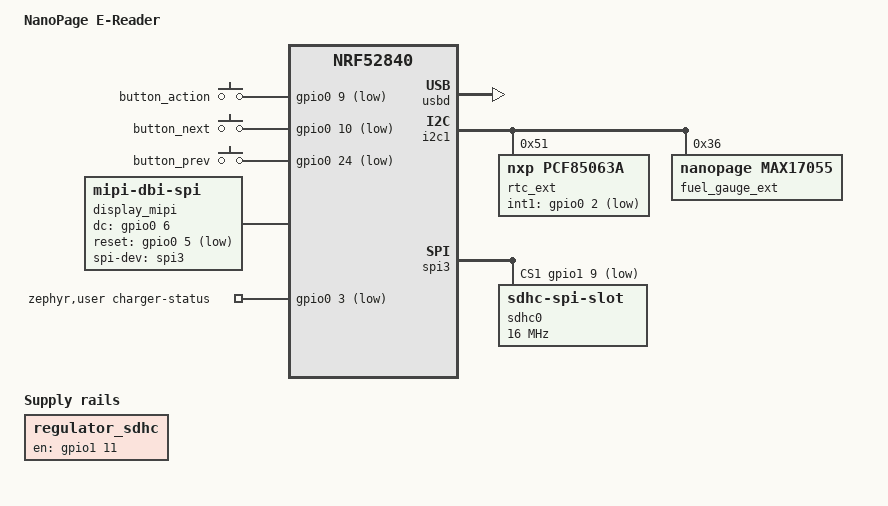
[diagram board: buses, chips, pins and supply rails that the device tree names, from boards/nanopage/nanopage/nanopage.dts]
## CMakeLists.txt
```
# SPDX-License-Identifier: Apache-2.0
cmake_minimum_required(VERSION 3.20.0)

list(APPEND BOARD_ROOT ${CMAKE_CURRENT_SOURCE_DIR})
list(APPEND DTS_ROOT ${CMAKE_CURRENT_SOURCE_DIR})

find_package(Zephyr REQUIRED HINTS $ENV{ZEPHYR_BASE})
project(nanopage)

target_sources(app PRIVATE
	src/main.c
	src/drivers/rtc.c
	src/drivers/buttons.c
	src/drivers/i2c1_bus.c
	src/display/display.c
	src/display/ssd1680.c
	src/display/logo_nanopage.c
	src/ui/text.c
	src/ui/list_widget.c
	src/ui/fonts/font_tamzen.c
	src/ui/fonts/font_icons.c
	src/ui/fonts/font_battery.c
	src/ui/statusbar/header.c
	src/ui/statusbar/footer.c
	src/ui/screens/menu.c
	src/ui/screens/browser.c
	src/ui/screens/settings.c
	src/ui/screens/calendar_day.c
	src/ui/screens/sleep_screen.c
	src/ui/screens/reader.c
	src/ui/screens/reader_menu.c
	src/ui/screens/toc.c
	src/ui/screens/bookmarks.c
	src/power/max17055.c
	src/power/fuel_gauge.c
	src/power/charger.c
	src/power/power.c
	src/storage/sd.c
	src/storage/calendar_store.c
	src/book/npb.c
	src/usb/usb_msc.c
	src/ble/companion.c
	src/ble/companion_library.c
	src/ble/companion_calendar.c
	src/ui/screens/companion_screen.c
)

target_include_directories(app PRIVATE
	src
	src/display
	src/ui
	src/ui/fonts
	src/ui/screens
	src/ui/statusbar
	src/power
	src/drivers
	src/storage
	src/book
	src/usb
	src/ble
)
```

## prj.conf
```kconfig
# First bring-up: verify the board boots and the RTT console works.

# Buttons (gpio-keys, INPUT_GPIO_KEYS) and RTC (PCF85063, RTC_PCF85063A)
CONFIG_INPUT=y
CONFIG_RTC=y
CONFIG_RTC_ALARM=y

# E-paper panel (SSD1680 over MIPI DBI Mode C / SPI), local driver
# src/display/ssd1680.c
CONFIG_DISPLAY=y
# Upstream's CONFIG_SSD16XX (which selects this) is off for our local compat.
CONFIG_MIPI_DBI=y

# Text-grid UI layer (text.c). Pulls in only the CFB subsystem's built-in
# font tables (subsys/fb/cfb_fonts.c) - text.c reads those directly and
# does not use the rest of the CFB API (see the comment at the top of
# text.c for why).
CONFIG_CHARACTER_FRAMEBUFFER=y
CONFIG_CHARACTER_FRAMEBUFFER_USE_DEFAULT_FONTS=y

# k_malloc() pool: display.c's full-frame scratch buffer (296x128/8 = 4736
# bytes) + text.c's persistent framebuffer (another 4736 bytes) + small
# per-row scratch buffers text.c allocates during app_text_flush().
CONFIG_HEAP_MEM_POOL_SIZE=16384

# Logging subsystem, so driver-level LOG_ERR (SSD1680/MIPI_DBI probe
# failures) actually shows up - without this LOG_* calls are compiled
# out and only our own printk lines are visible. Shares RTT buffer 0
# with the printk console (LOG_BACKEND_RTT_FORCE_PRINTK handles the
# two not corrupting each other).
CONFIG_LOG=y

# Fuel gauge (MAX17055, fuel_gauge.c/max17055.c). NVS on the "storage"
# flash partition persists learned impedance-track parameters across a
# battery disconnect (STATUS.POR).
CONFIG_FLASH=y
CONFIG_FLASH_MAP=y
CONFIG_FLASH_PAGE_LAYOUT=y
CONFIG_NVS=y

# Power states (power.c). System OFF after 30 min idle, GPIO-wake on any
# button - the lowest power state the nRF52840 has.
CONFIG_POWEROFF=y

# Without this, Zephyr's regulator-fixed driver never runs, so
# regulator_sdhc's "regulator-boot-off" in nanopage.dts is a no-op: the
# TPS22929D's ON pin (P1.11) is left as a floating GPIO input instead of
# being actively driven low. The TPS22929D datasheet says explicitly not
# to leave that pin floating, so this is worth doing regardless - but it
# is NOT the source of the ~1-2.5mA idle drain under investigation:
# "removing the microSD card" was one of the variables ruled out during
# that testing (see .claude/CLAUDE.md's "Open investigation, unresolved"
# note), and this Kconfig was already enabled at the time. This makes
# regulator-boot-off actually take effect.
#
# Confirmed by isolation testing (2026-09-11): with a microSD card
# physically inserted, enabling this broke display refreshes (BUSY
# cleared in ~20ms instead of the normal ~1.7s, no visible update) -
# almost certainly the card partially powering up on the same shared
# SPI3 bus (separate CS lines, but same MOSI/MISO/SCK) as the display.
# Works correctly with the card removed. Nothing in this firmware uses
# the SD card yet (no filesystem driver wired up), so this isn't a
# regression for anything actually working today - but it means SD
# card init (when that's eventually built) needs to sequence around
# this, not just flip the switch and go.
CONFIG_REGULATOR=y

# CONFIG_PM_DEVICE gates pm_device_action_run() existing at all (needed by
# display.c's manual spi3 resume/suspend around app_display_lock()/
# unlock() - see the comment there). CONFIG_PM_DEVICE_RUNTIME/
# CONFIG_PM_DEVICE_RUNTIME_DEFAULT_ENABLE were tried first (automatic
# get/put refcounting instead of an explicit call) but never actually
# worked: SPIM3->ENABLE read back 0 as expected, yet idle current stayed
# at the same elevated level as if it were still clocked - a genuine,
# never-root-caused inconsistency in Zephyr's runtime PM layer for this
# driver (see .claude/CLAUDE.md's "PPK2" investigation). Testing an
# explicit pm_device_action_run() instead, 2026-09-17.
CONFIG_PM_DEVICE=y

# microSD card (sd.c) - FAT filesystem over the zephyr,sdhc-spi-slot ->
# SD subsystem -> zephyr,sdmmc-disk chain wired up on spi3 in
# nanopage.dts. DISK_ACCESS/SDHC/SD_STACK/SPI_SDHC/DISK_DRIVER_SDMMC all
# default to y once those devicetree nodes exist, so only the
# filesystem layer needs to be requested explicitly here.
CONFIG_FILE_SYSTEM=y
CONFIG_FAT_FILESYSTEM_ELM=y
# Real folder/file names on a card written by anything other than this
# firmware are almost always >8.3 - without this they'd come back
# truncated (e.g. "MYBOOK~1"). Heap mode since prj.conf already sizes a
# heap for display.c/text.c's frame buffers; the LFN working buffer
# (256 * 2 = 512 bytes) is only allocated transiently during a
# fs_readdir() call, not held permanently.
CONFIG_FS_FATFS_LFN=y
CONFIG_FS_FATFS_LFN_MODE_HEAP=y
# FS_FATFS_MOUNT_MKFS defaults off unless FILE_SYSTEM_MKFS is set, which
# it isn't here - deliberately: a blank/unrecognized card should fail
# fs_mount() loudly, not get silently reformatted and lose whatever was
# on it.

# main()/init ran on the default 1024-byte CONFIG_MAIN_STACK_SIZE fine
# until app_sd_init() was added - fs_mount()'s FAT/SDHC-SPI path (ff.c's
# f_mount plus sdhc_spi.c's own local command buffers) blew straight
# through it into an MPU stacking fault the moment it was called.
# Zephyr's own samples/subsys/fs/fs_sample hits the same thing and sets
# this same value for the same reason.
#
# Bumped again, 2048 -> 4096, when main() started calling
# app_reader_resume_last_session() (reader.c) directly after a System-OFF
# wake, to reopen a book main.c was booting straight back into - the full
# app_reader_open() chain (fs_mount() plus npb.c's header/variant-table
# parse, render_page()'s text layout, and the SSD1680 SPI refresh) is far
# deeper than the bare fs_mount() this was originally sized for, and had
# previously only ever run on the input thread or system workqueue -
# CONFIG_INPUT_THREAD_STACK_SIZE/CONFIG_SYSTEM_WORKQUEUE_STACK_SIZE below,
# both already 4096 for that exact reason. Confirmed on hardware
# 2026-09-18: a stack overflow (MPU FAULT, Stacking error) firing right
# after "woke from System OFF via GPIO" in the RTT log, at 2048.
CONFIG_MAIN_STACK_SIZE=4096

# browser.c (src/ui/browser.c) calls fs_opendir()/fs_readdir() - the same
# FATFS call chain that forced CONFIG_MAIN_STACK_SIZE up above - but now
# from a button press. That callback (buttons.c's button_event_cb) runs
# on Zephyr's dedicated input-processing thread (CONFIG_INPUT_MODE_THREAD,
# the default - see subsys/input/Kconfig), NOT the system workqueue:
# gpio-keys debounces on its own k_work, then posts through
# input_report_key(), which this separate thread dequeues and dispatches
# to INPUT_CALLBACK_DEFINE listeners synchronously. Its default stack
# (CONFIG_INPUT_THREAD_STACK_SIZE, 1024B) is smaller than what fs_mount()
# alone needed on main() - bumped here for the same reason, with the same
# margin.
CONFIG_INPUT_THREAD_STACK_SIZE=4096

# Generic headroom bump for the same reason as CONFIG_MAIN_STACK_SIZE
# above - this thread carries the header/footer/display-refresh work
# (main.c's footer_sample_work/footer_draw_work chain, the RTC alarm and
# charger STAT callbacks) and doesn't need FS-call-chain depth itself,
# but costs nothing to give real margin against the default 1024B.
CONFIG_SYSTEM_WORKQUEUE_STACK_SIZE=4096

# USB Mass Storage (usb_msc.c) - exposes the microSD card as a USB drive
# while a host is connected. CONFIG_USB_DEVICE_STACK_NEXT is Zephyr's
# newer USBD stack (the old CONFIG_USB_DEVICE_STACK is legacy/deprecated
# upstream) - matches the in-tree samples/subsys/usb/mass sample, which
# has its own sample.usbd.mass_sdhc_fatfs config for exactly this
# SD-card-over-SPI case. CONFIG_USBD_MSC_LUNS_PER_INSTANCE defaults to 1,
# which is all this board needs (one LUN, the SD card).
CONFIG_USB_DEVICE_STACK_NEXT=y
CONFIG_USBD_MSC_CLASS=y

# Default (512B = one sector) forces every multi-sector SCSI READ(10)/
# WRITE(10) into a stream of individual single-block SD commands (CMD17/
# CMD24) instead of one batched multi-block transfer (CMD18/CMD25) -
# subsys/sd/sd_ops.c's card_read()/card_write() already pick the
# multi-block opcode whenever asked for more than one sector at once, so
# this is purely about giving usbd_msc_scsi.c's internal buffer room to
# actually ask for more than one - 16 sectors/8KB per buffer (x2 for
# CONFIG_USBD_MSC_DOUBLE_BUFFERING = 16KB total), cheap against a 256KB
# RAM budget currently at ~21% used.
CONFIG_USBD_MSC_SCSI_BUFFER_SIZE=8192

# Chasing a real UX bug, 2026-09-18: if the USB cable is pulled mid-
# transfer instead of ejected cleanly, the *next* connection took ~20s
# before working. Root cause: Zephyr's SD stack (subsys/sd/sd_ops.c)
# defaults CONFIG_SD_DATA_TIMEOUT to 10000ms and CONFIG_SD_DATA_RETRIES
# to 3 - when the cable drops mid-read/write, the usbd_msc thread is
# left blocked deep inside that read/write, holding the card's own
# internal mutex (card->lock), retrying against now-unpowered hardware
# it has no way to know is gone. There's no Zephyr API to cancel that in
# flight, so it has to run its own timeout/retry cycle to completion
# (up to 10s x 3 = 30s worst case) before releasing the lock - and the
# *next* connection's own disk_access_init() blocks on that same mutex
# in the meantime. 10s x 3 retries is generous margin for a card doing
# real internal housekeeping; this card's actual reads/writes complete
# in low tens of milliseconds even at the old conservative 4MHz clock
# (see sdhc0 in nanopage.dts), so tightening these bounds the worst case
# to ~4s instead of ~30s without meaningfully risking a legitimate
# operation on this specific card/use case.
CONFIG_SD_DATA_TIMEOUT=2000
CONFIG_SD_DATA_RETRIES=1

# USBD_MSC_CLASS's own thread does raw disk_access_read()/write() against
# the same SDHC-over-SPI call chain (sdhc_spi.c) that forced
# CONFIG_MAIN_STACK_SIZE/CONFIG_INPUT_THREAD_STACK_SIZE up above for
# fs_mount()/fs_readdir() - its 1024B default is smaller than what that
# chain needed there, bumped here for the same reason with the same
# margin rather than waiting to hit an MPU stacking fault on real
# hardware.
CONFIG_USBD_MSC_STACK_SIZE=4096

# Bluetooth LE companion link (src/ble/companion.c) - peripheral only,
# GATT server, LE Secure Connections pairing with a passkey the device
# shows on the e-paper (display-only IO capability), bonding persisted
# through the Zephyr settings subsystem to settings_partition (see
# nanopage.dts - separate from storage_partition, which fuel_gauge.c uses
# as raw NVS). The radio is only brought up while companion mode is
# active (bt_enable()/bt_disable()), never always-on.
CONFIG_BT=y
CONFIG_BT_PERIPHERAL=y
CONFIG_BT_SMP=y
CONFIG_BT_SMP_SC_PAIR_ONLY=y
CONFIG_BT_MAX_CONN=1
CONFIG_BT_MAX_PAIRED=2
CONFIG_BT_DEVICE_NAME_DYNAMIC=y
CONFIG_BT_DEVICE_NAME_MAX=20
CONFIG_BT_DEVICE_NAME="NanoPage"
CONFIG_BT_L2CAP_TX_MTU=247
CONFIG_BT_BUF_ACL_RX_SIZE=251
CONFIG_BT_BUF_ACL_TX_SIZE=251
CONFIG_BT_SETTINGS=y
CONFIG_SETTINGS=y
CONFIG_SETTINGS_NVS=y
CONFIG_HWINFO=y
# bt_enable() and the BT RX/TX work run on their own threads; the GATT
# write handlers touch the RTC and (later) the SD card, so give the
# workqueue and RX thread the same margin as the other FS-touching threads.
CONFIG_BT_RX_STACK_SIZE=2048
```

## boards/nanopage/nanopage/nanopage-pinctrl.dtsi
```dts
/*
 * SPDX-License-Identifier: Apache-2.0
 */

&pinctrl {
	/*
	 * Shared SPI bus: e-paper panel + microSD card (own CS lines each).
	 * MISO is its own group, separate from SCK/MOSI, so bias-pull-down
	 * applies to only that pin: MISO is a shared input driven by
	 * whichever slave has CS asserted, and goes undriven (high-Z) on
	 * both slaves whenever the bus is idle - which is most of the time.
	 * Without a pull, PIN_CNF reads DIR=Input/INPUT=Connected/PULL=
	 * Disabled the whole time the bus sits idle: a genuinely floating
	 * input, confirmed live via a temporary PIN_CNF scan (2026-09-11,
	 * see .claude/CLAUDE.md's "Open investigation" note) - a real,
	 * previously-untested candidate for the ~1-2.5mA idle current.
	 * SCK/MOSI are master-driven outputs, so they don't have this
	 * problem and don't need a pull.
	 */
	spi3_default: spi3_default {
		group1 {
			psels = <NRF_PSEL(SPIM_SCK, 0, 31)>,
				<NRF_PSEL(SPIM_MOSI, 0, 30)>;
		};
		group2 {
			psels = <NRF_PSEL(SPIM_MISO, 0, 29)>;
			bias-pull-down;
		};
	};

	spi3_sleep: spi3_sleep {
		group1 {
			psels = <NRF_PSEL(SPIM_SCK, 0, 31)>,
				<NRF_PSEL(SPIM_MOSI, 0, 30)>;
			low-power-enable;
		};
		group2 {
			psels = <NRF_PSEL(SPIM_MISO, 0, 29)>;
			bias-pull-down;
			low-power-enable;
		};
	};

	/* Shared I2C bus: RTC + fuel gauge */
	i2c1_default: i2c1_default {
		group1 {
			psels = <NRF_PSEL(TWIM_SDA, 1, 13)>,
				<NRF_PSEL(TWIM_SCL, 0, 28)>;
		};
	};

	i2c1_sleep: i2c1_sleep {
		group1 {
			psels = <NRF_PSEL(TWIM_SDA, 1, 13)>,
				<NRF_PSEL(TWIM_SCL, 0, 28)>;
			low-power-enable;
		};
	};
};
```

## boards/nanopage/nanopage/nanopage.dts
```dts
/*
 * SPDX-License-Identifier: Apache-2.0
 *
 * Pin assignments below come from the module pinout table in the
 * project README (E73-2G4M08S1C, U8 in the schematic). Signals that
 * belong to a driver which hasn't been added yet (fuel gauge, SD card
 * detect, charger/USB status lines) are left unwired here on purpose -
 * see the comment block at the bottom.
 */

/dts-v1/;
#include <nordic/nrf52840_qiaa.dtsi>
#include "nanopage-pinctrl.dtsi"
#include <zephyr/dt-bindings/input/input-event-codes.h>

/ {
	model = "NanoPage E-Reader";
	compatible = "nanopage,nanopage";

	chosen {
		zephyr,sram = &sram0;
		zephyr,flash = &flash0;
		zephyr,code-partition = &slot0_partition;
		zephyr,settings-partition = &settings_partition;
		zephyr,display = &epd_panel;
	};

	buttons_input: buttons {
		compatible = "gpio-keys";

		/* P0.09/NFC1 - needs &uicr nfct-pins-as-gpios below to read as GPIO */
		button_action: button_action {
			gpios = <&gpio0 9 (GPIO_PULL_UP | GPIO_ACTIVE_LOW)>;
			zephyr,code = <INPUT_KEY_ENTER>;
		};

		/* P0.10/NFC2 - needs &uicr nfct-pins-as-gpios below to read as GPIO */
		button_next: button_next {
			gpios = <&gpio0 10 (GPIO_PULL_UP | GPIO_ACTIVE_LOW)>;
			zephyr,code = <INPUT_KEY_RIGHT>;
		};

		button_prev: button_prev {
			gpios = <&gpio0 24 (GPIO_PULL_UP | GPIO_ACTIVE_LOW)>;
			zephyr,code = <INPUT_KEY_LEFT>;
		};
	};

	/*
	 * Long-press detection for the Action button only, via Zephyr's
	 * in-tree zephyr,input-longpress pseudo-device (subsys/input/
	 * input_longpress.c) - reused instead of hand-rolled hold-timing
	 * logic in buttons.c. Watches buttons_input for INPUT_KEY_ENTER and,
	 * on release, re-emits either the same code (short press, < 500ms -
	 * this is what buttons.c now treats as the real "Action" press
	 * everywhere, not the raw buttons_input event, so every screen's
	 * Action handling now fires on release rather than on press - see
	 * buttons.c) or INPUT_KEY_MENU (held >= 500ms), which reader.c uses
	 * to open the in-book menu (Table of Contents/Bookmarks) - see
	 * reader_menu.h. Prev/Next are not wrapped by this node so paging
	 * stays instant; see nav_longpress below. CONFIG_INPUT_LONGPRESS is enabled automatically
	 * (default y, gated on this node existing - see subsys/input/Kconfig).
	 */
	action_longpress: longpress {
		compatible = "zephyr,input-longpress";
		input = <&buttons_input>;
		input-codes = <INPUT_KEY_ENTER>;
		short-codes = <INPUT_KEY_ENTER>;
		long-codes = <INPUT_KEY_MENU>;
		long-delay-ms = <500>;
	};

	/*
	 * Prev/Next hold detection. Only matters while a screen registers a
	 * hold callback (app_buttons_set_hold_callback); buttons.c ignores
	 * this node's events otherwise, so Prev/Next stay instant on the raw
	 * buttons_input event. PAGEUP = hold Prev, PAGEDOWN = hold Next.
	 */
	nav_longpress: longpress-nav {
		compatible = "zephyr,input-longpress";
		input = <&buttons_input>;
		input-codes = <INPUT_KEY_LEFT INPUT_KEY_RIGHT>;
		short-codes = <INPUT_KEY_LEFT INPUT_KEY_RIGHT>;
		long-codes = <INPUT_KEY_PAGEUP INPUT_KEY_PAGEDOWN>;
		long-delay-ms = <500>;
	};

	/* microSD load switch enable, P1.11 */
	regulator_sdhc: regulator-sdhc-pwr {
		compatible = "regulator-fixed";
		regulator-name = "sdhc-pwr";
		enable-gpios = <&gpio1 11 GPIO_ACTIVE_HIGH>;
		regulator-boot-off;
	};

	/*
	 * GDEY029T94 e-paper panel (128x296, SSD1680 controller) on spi3,
	 * CS index 0 there (see cs-gpios on &spi3 below). The local
	 * SSD1680 driver (src/display/ssd1680.c) talks to it over the
	 * generic MIPI DBI Mode C (4-wire SPI) bridge, so the actual SPI
	 * bus is wrapped in a zephyr,mipi-dbi-spi node that owns the
	 * DC/reset lines; reg = <0> on the panel node below selects
	 * cs-gpios[0] on spi3 through that wrapper.
	 */
	display_mipi: display-mipi {
		compatible = "zephyr,mipi-dbi-spi";
		spi-dev = <&spi3>;
		dc-gpios = <&gpio0 6 GPIO_ACTIVE_HIGH>;		/* P0.06 */
		reset-gpios = <&gpio0 5 GPIO_ACTIVE_LOW>;	/* P0.05 */
		#address-cells = <1>;
		#size-cells = <0>;

		epd_panel: ssd1680@0 {
			compatible = "nanopage,ssd1680";
			reg = <0>;
			mipi-max-frequency = <4000000>;
			/*
			 * In this driver "width" is the gate-line count
			 * (SSD1680 max 296) and "height" is the source-line
			 * count (max 176) - not screen columns/rows. Panel
			 * is 296(H, gate) x 128(V, source) per the GDEY029T94
			 * datasheet.
			 */
			width = <296>;
			height = <128>;
			/*
			 * 180 degrees so the panel reads right-side up for how
			 * the device is actually held - the natural mounting
			 * orientation is upside down relative to the driver's
			 * default. ROTATED_180 stays on the same code path as
			 * NORMAL in ssd1680.c (x/y resolution and the vtiled
			 * buffer layout are unchanged, just the RAM scan
			 * direction flips) - unlike 90/270, which would swap
			 * width/height and drop the vtiled layout text.c
			 * depends on.
			 */
			rotation = <180>;
			busy-gpios = <&gpio0 8 GPIO_ACTIVE_HIGH>;	/* P0.08 */

			/*
			 * Enables the SSD1680's faster/partial ("Mode 2")
			 * waveform. Empty on purpose: this chip's OTP
			 * already stores both the full and Mode 2 waveforms,
			 * selected purely via an UPDATE_CTRL2 register bit
			 * (see quirks_nanopage_ssd1680.ctrl2_partial in
			 * ssd1680.c) - no custom LUT bytes needed. Presence
			 * of this node is what the driver checks, per its
			 * SSD16XX_DEFINE()/DT_CHILD(n, partial) macro.
			 */
			partial {
			};
		};
	};

	aliases {
		sw-action = &button_action;
		sw-next = &button_next;
		sw-prev = &button_prev;
		rtc0 = &rtc_ext;
	};

	/*
	 * BQ25170 STAT output, P0.03 - open-drain, pulled up externally
	 * (R8, 10k to +3V3 per the schematic), so no internal pull is
	 * configured here. No dedicated driver/binding for this - a plain
	 * zephyr,user property is the standard way to hand app code a raw
	 * GPIO it configures/reads itself (see charger.c).
	 */
	zephyr,user {
		charger-status-gpios = <&gpio0 3 GPIO_ACTIVE_LOW>;
	};
};

/* Externally regulated 3.3V feeds both VDD and VDDH - REG0 (VDDH->VDD
 * boost path) isn't in the power path, so it's left disabled (SoC
 * default). REG1 in DC/DC mode is the standard efficiency win.
 *
 * Tested LDO vs DCDC directly (2026-09-11) while chasing an unexplained
 * ~1-3mA idle current shown by the fuel gauge: no measurable difference
 * either way, so DCDC is not implicated and stays on for its real
 * benefit during active/refresh periods. See project memory for the
 * full current-draw investigation and what's still open.
 */
&reg1 {
	regulator-initial-mode = <NRF5X_REG_MODE_DCDC>;
};

&uicr {
	/* No NFC antenna on this board - P0.09/P0.10 are Action/Next buttons */
	nfct-pins-as-gpios;
	/* P0.18 is the dedicated reset button pin */
	gpio-as-nreset;
};

&gpiote {
	status = "okay";
};

&gpio0 {
	status = "okay";
};

&gpio1 {
	status = "okay";
};

/*
 * Native USB device peripheral - VBUS/D+/D- are wired directly to it (see
 * the README pinout table), used by usb_msc.c for the USB Mass Storage
 * file-browser feature. zephyr_udc0 is the node label Zephyr's USB device
 * stack looks up by name (DT_NODELABEL(zephyr_udc0)), same convention
 * every in-tree nRF52840 board uses (e.g. nrf52840dk_nrf52840.dts).
 */
zephyr_udc0: &usbd {
	status = "okay";
};

/* RTC (PCF85063) + fuel gauge (MAX17055) */
&i2c1 {
	compatible = "nordic,nrf-twim";
	status = "okay";
	pinctrl-0 = <&i2c1_default>;
	pinctrl-1 = <&i2c1_sleep>;
	pinctrl-names = "default", "sleep";

	/*
	 * PCF85063 RTC, fixed I2C address 0x51. Zephyr's in-tree
	 * nxp,pcf85063a binding/driver is used as-is (same register
	 * map as the plain PCF85063 on this board).
	 */
	rtc_ext: rtc@51 {
		compatible = "nxp,pcf85063a";
		reg = <0x51>;
		int1-gpios = <&gpio0 2 GPIO_ACTIVE_LOW>;
	};

	/*
	 * MAX17055, fixed I2C address 0x36. compatible = "nanopage,max17055"
	 * (own from-scratch driver, src/max17055.c) rather than upstream's
	 * "maxim,max17055" - see the top-of-file comment there for why.
	 * rsense-mohms/i-chg-term come from the schematic (R11 = 10m sense
	 * resistor; R7 = 1k on ISET -> 300mA per the BQ25170's printed
	 * I_CHG = 300AOhms/R_ISET formula, i-chg-term uses the conventional
	 * C/10 termination current). design-voltage/desired-voltage = 4200mV
	 * matches the charger's VSET resistor (R6 = 27k -> 4.20V per the
	 * schematic's printed VSET table). v-empty/v-recover = 3300mV/3880mV
	 * matches the guide's own worked example (Section "MAX17055 INI File
	 * Format", VEmpty = 0xa561 decodes to exactly these two values).
	 */
	fuel_gauge_ext: fuel-gauge@36 {
		compatible = "nanopage,max17055";
		reg = <0x36>;
		rsense-mohms = <10>;
		design-capacity = <320>;
		design-voltage = <4200>;
		desired-voltage = <4200>;
		desired-charging-current = <300>;
		i-chg-term = <32>;
		v-empty = <3300>;
		v-recover = <3880>;
	};
};

/* E-paper panel (SSD1680) + microSD card, own CS line each */
&spi3 {
	compatible = "nordic,nrf-spim";
	status = "okay";
	cs-gpios = <&gpio0 26 GPIO_ACTIVE_LOW>,	/* display CS, P0.26 */
		   <&gpio1 9 GPIO_ACTIVE_LOW>;		/* SD card CS, P1.09 */
	pinctrl-0 = <&spi3_default>;
	pinctrl-1 = <&spi3_sleep>;
	pinctrl-names = "default", "sleep";

	/*
	 * microSD card, SD-over-SPI (zephyr,sdhc-spi-slot -> the SD
	 * subsystem -> zephyr,sdmmc-disk for the disk_access/fs_mount
	 * API), reg = <1> selects cs-gpios[1] above (P1.09). The card's
	 * own load switch (regulator_sdhc, P1.11) is a separate
	 * regulator-fixed node, not this binding's pwr-gpios - sd.c
	 * enables/times it explicitly rather than letting this driver
	 * toggle it around every init, per the app-level sequencing this
	 * board's known power/display interaction needs (see sd.c).
	 * Raised from the original 4MHz first-bring-up value to 16MHz
	 * 2026-09-18, chasing a USB Mass Storage (usb_msc.c) directory
	 * listing that was still very slow to enumerate on a real host even
	 * after fixing the spi3 PM refcounting bug (display.c) and batching
	 * MSC's own reads (CONFIG_USBD_MSC_SCSI_BUFFER_SIZE in prj.conf) -
	 * 4MHz's own raw throughput ceiling (~500KB/s best-case, worse in
	 * practice with per-command overhead) was the next suspect. This is
	 * a real, independent SPI transaction config specific to this node -
	 * not shared with the display's own (still-4MHz) spi-max-frequency,
	 * so this doesn't touch the display's timing at all. 16MHz leaves
	 * real margin under the SD-over-SPI standard-speed ceiling (25MHz)
	 * rather than jumping straight to it, given the bus/traces
	 * themselves have never been verified above 4MHz for either
	 * peripheral sharing them - the driver itself still negotiates up
	 * from 400kHz during card init regardless of this ceiling. Needs
	 * on-hardware verification (no read/write/CRC errors, and does it
	 * actually fix the slow-listing symptom) - raise further, or back
	 * off, based on that.
	 */
	sdhc0: sdhc@1 {
		compatible = "zephyr,sdhc-spi-slot";
		reg = <1>;
		status = "okay";
		spi-max-frequency = <16000000>;

		mmc {
			compatible = "zephyr,sdmmc-disk";
			disk-name = "SD";
			status = "okay";
		};
	};
};

&flash0 {
	partitions {
		compatible = "fixed-partitions";
		#address-cells = <1>;
		#size-cells = <1>;

		/*
		 * No bootloader yet (flashed directly over SWD per the
		 * firmware architecture decision in .claude/CLAUDE.md), so
		 * the app image starts at 0x0. Still named slot0/image-0
		 * so adding MCUboot later (for OTA/DFU) is a partition
		 * resize, not a rename.
		 */
		slot0_partition: partition@0 {
			label = "image-0";
			reg = <0x00000000 DT_SIZE_K(976)>;
		};

		/* Zephyr settings subsystem (NVS backend): BLE bonding keys.
		 * Separate from storage_partition because settings and
		 * fuel_gauge.c's raw NVS use would otherwise fight over the
		 * same sectors. Carved out of the app image area rather than
		 * out of storage_partition: shrinking that one made the fuel
		 * gauge's existing NVS state fail to mount.
		 */
		settings_partition: partition@f4000 {
			label = "settings";
			reg = <0x000f4000 DT_SIZE_K(16)>;
		};

		/* Fuel gauge learned parameters (raw NVS, fuel_gauge.c). */
		storage_partition: partition@f8000 {
			label = "storage";
			reg = <0x000f8000 DT_SIZE_K(32)>;
		};
	};
};

/*
 * Pins not yet wired to a devicetree node - each belongs to a driver
 * that hasn't been added to the board file yet:
 *
 *   P0.12  SD card detect        - card-detect switch
 *   P0.17  USB detect            - VBUS sense, separate from the native USBD peripheral
 *   P0.13  fuel gauge alert      - MAX17055 alert-gpios
 *   P1.00  charger power-good    - BQ25170 PG output
 *
 * P0.03 (charger status) is wired above (zephyr,user) - see charger.c.
 *
 * P0.15, P0.20, P0.22, P0.04, P0.07, P1.02, P1.04, P1.06, P1.10 are NC
 * per the schematic and intentionally left out.
 */
```

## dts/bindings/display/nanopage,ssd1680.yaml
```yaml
# SPDX-License-Identifier: Apache-2.0
#
# Deliberately a separate compatible from upstream's "solomon,ssd1680" -
# this board uses a local copy of the driver (src/display/ssd1680.c), not
# Zephyr's in-tree one. Reason: the in-tree driver's init() ends with a
# full panel refresh, which flashes the panel white on every boot and
# wipes the sleep screen after waking from System OFF; the app issues
# its own first refresh instead. All properties come from upstream's
# common SSD16xx binding.

description: SSD1680 e-paper controller, no refresh at init (NanoPage board)

compatible: "nanopage,ssd1680"

include: solomon,ssd16xx-common.yaml
```

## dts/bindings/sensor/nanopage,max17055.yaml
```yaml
# SPDX-License-Identifier: Apache-2.0
#
# Deliberately a separate compatible from upstream's "maxim,max17055" -
# this board uses its own from-scratch driver (src/max17055.c), not
# Zephyr's in-tree one. Reason: the in-tree driver's init() runs
# automatically at POST_KERNEL and on every POR unconditionally does a
# basic EZ-config and clears the POR bit itself, with no hook to load
# previously-learned impedance-track parameters from flash first. See the
# top-of-file comment in src/max17055.c for the full explanation.

description: MAX17055 fuel gauge, app-driven configure/restore (NanoPage board)

compatible: "nanopage,max17055"

include: [i2c-device.yaml]

properties:
  rsense-mohms:
    type: int
    required: true
    description: Current-sense resistor value in milliohms (R11 on this board).

  design-capacity:
    type: int
    required: true
    description: Battery design (label) capacity in mAh.

  design-voltage:
    type: int
    required: true
    description: >
      Battery design (charge) voltage in mV. Selects which ModelCfg/dPAcc
      constants the "Custom Short INI" sequence uses (>4275mV vs <=4275mV
      per the MAX17055 Software Implementation Guide).

  desired-voltage:
    type: int
    required: true
    description: Desired charge voltage in mV.

  desired-charging-current:
    type: int
    required: true
    description: Desired charging current in mA.

  i-chg-term:
    type: int
    required: true
    description: Charge termination current in mA.

  v-empty:
    type: int
    required: true
    description: Empty-battery voltage threshold in mV (VEmpty register VE field).

  v-recover:
    type: int
    required: true
    description: >
      Voltage the cell must recover above before empty-detection resets, in
      mV (VEmpty register VR field).
```

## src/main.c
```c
/* SPDX-License-Identifier: Apache-2.0 */

#include <stdio.h>
#include <zephyr/drivers/rtc.h>
#include <zephyr/kernel.h>

#include "bookmarks.h"
#include "browser.h"
#include "buttons.h"
#include "calendar_day.h"
#include "charger.h"
#include "companion.h"
#include "companion_screen.h"
#include "config.h"
#include "display.h"
#include "footer.h"
#include "fuel_gauge.h"
#include "header.h"
#include "menu.h"
#include "power.h"
#include "reader.h"
#include "reader_menu.h"
#include "rtc.h"
#include "settings.h"
#include "text.h"
#include "toc.h"
#include "usb_msc.h"

#define HEADER_FOLDER_FALLBACK "(no SD card)"

static struct k_work_delayable fuel_gauge_save_work;

static void on_header_event(void)
{
	app_fuel_gauge_notify_charger_state(app_charger_is_charging());

	const char *folder;
	bool bookmarked = false;

	if (app_usb_msc_is_active()) {
		folder = "Connected to computer";
	} else if (app_menu_is_active()) {
		folder = "Apps";
	} else if (app_settings_is_active()) {
		folder = "Settings";
	} else if (app_companion_screen_is_active()) {
		folder = "Phone";
	} else if (app_calendar_day_is_active()) {
		static char date[24];

		if (app_calendar_day_format_date(date, sizeof(date)) != 0) {
			snprintf(date, sizeof(date), "Calendar");
		}
		folder = date;
	} else if (app_reader_menu_is_active()) {
		folder = "Menu";
	} else if (app_toc_is_active()) {
		folder = "Table of Contents";
	} else if (app_bookmarks_is_active()) {
		folder = "Bookmarks";
	} else if (app_reader_is_active()) {
		folder = "";
		bookmarked = app_reader_current_page_bookmarked();
	} else if (app_browser_is_ready()) {
		folder = app_browser_get_current_path();
	} else {
		folder = HEADER_FOLDER_FALLBACK;
	}

	if (app_header_update(folder, bookmarked) > 0) {
		app_text_flush();
	}
}

static void fuel_gauge_save_handler(struct k_work *work)
{
	ARG_UNUSED(work);

	if (app_fuel_gauge_should_save_learned_params()) {
		app_fuel_gauge_save_learned_params();
	}

	k_work_schedule(&fuel_gauge_save_work, K_SECONDS(APP_STATUS_REFRESH_INTERVAL_SEC));
}

int main(void)
{
	printk("NanoPage: RTC + buttons + display + fuel gauge + app menu bring-up.\n");

	if (app_rtc_init()) {
		return 0;
	}

	app_display_init();
	app_fuel_gauge_init();
	app_charger_init();
	app_power_init();
	app_buttons_init();

	if (app_text_init(APP_TEXT_FONT_TAMZEN) == 0) {
		app_footer_init();

		app_footer_draw();

		if (!app_power_woke_from_system_off() ||
		    app_reader_resume_last_session(app_menu_show) != 0) {
			app_menu_show();
		}

		if (app_usb_msc_init()) {
			printk("main: USB Mass Storage init failed\n");
		}

		k_work_init_delayable(&fuel_gauge_save_work, fuel_gauge_save_handler);
		k_work_schedule(&fuel_gauge_save_work, K_SECONDS(APP_STATUS_REFRESH_INTERVAL_SEC));

		struct rtc_time minute_tick = {.tm_sec = 0};

		app_rtc_set_alarm(&minute_tick, RTC_ALARM_TIME_MASK_SECOND, on_header_event);
		app_charger_set_change_callback(on_header_event);
		app_companion_set_link_callback(on_header_event);
	}

	return 0;
}
```

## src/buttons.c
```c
/* SPDX-License-Identifier: Apache-2.0 */

#include <zephyr/kernel.h>
#include <zephyr/input/input.h>

static void button_event_cb(struct input_event *evt, void *user_data)
{
	ARG_UNUSED(user_data);

	printk("button: code=%u %s\n", evt->code, evt->value ? "pressed" : "released");
}
INPUT_CALLBACK_DEFINE(NULL, button_event_cb, NULL);
```

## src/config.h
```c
/* SPDX-License-Identifier: Apache-2.0 */

#ifndef APP_CONFIG_H_
#define APP_CONFIG_H_

/* --- Power (power.c) --- */

/* Idle time (no button press) before the board drops to System OFF. */
#define APP_POWER_IDLE_TIMEOUT_MS (5 * 60 * 1000)

/* --- Status bar (main.c) --- */

#define APP_STATUS_REFRESH_INTERVAL_SEC 30

/* --- File browser (browser.c) --- */

#define APP_BROWSER_FULL_REFRESH_EVERY 10

/* --- Book reader (reader.c) --- */

#define APP_READER_FULL_REFRESH_EVERY 10

/* How long the SD card stays mounted/powered after the last reader action
 * before it's torn back down, so a burst of quick page turns shares one
 * mount instead of paying the mount/power-up cost per turn.
 */
#define APP_READER_SD_IDLE_MS 2000

/* --- Chapter list (toc.c) --- */

#define APP_TOC_FULL_REFRESH_EVERY 10

/* --- Bookmarks list (bookmarks.c) --- */

#define APP_BOOKMARKS_FULL_REFRESH_EVERY 10

/* --- SD card (sd.c) --- */

#define APP_SD_POWER_UP_DELAY_MS 20

/* --- Phone companion (companion.c) --- */

/* How long advertising stays on after "Connect to phone" before the radio is
 * switched back off. A connected link is not subject to this.
 */
#define APP_COMPANION_ADV_TIMEOUT_SEC 120

/* How long advertising continues after a paired phone disconnects, before the
 * radio is switched back off.
 */
#define APP_COMPANION_READVERTISE_SEC 60

/* --- Fuel gauge / charging (fuel_gauge.c) --- */

#define APP_CHARGE_COMPLETE_VOLTAGE_MV 4100

#define APP_CHARGE_FULL_DISPLAY_MARGIN_X10 30

#endif /* APP_CONFIG_H_ */
```

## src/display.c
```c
/* SPDX-License-Identifier: Apache-2.0 */

#include <string.h>
#include <zephyr/kernel.h>
#include <zephyr/device.h>
#include <zephyr/drivers/display.h>
#include <zephyr/sys/util.h>

#include "display.h"

static const struct device *const display_dev = DEVICE_DT_GET(DT_CHOSEN(zephyr_display));

int app_display_init(void)
{
	if (!device_is_ready(display_dev)) {
		printk("Display device not ready\n");
		return -ENODEV;
	}

	struct display_capabilities caps;

	display_get_capabilities(display_dev, &caps);
	printk("display: %ux%u, pixel format 0x%02x\n", caps.x_resolution, caps.y_resolution,
	       caps.current_pixel_format);

	return 0;
}

void app_display_get_size(uint16_t *width, uint16_t *height)
{
	struct display_capabilities caps;

	display_get_capabilities(display_dev, &caps);
	*width = caps.x_resolution;
	*height = caps.y_resolution;
}

enum display_orientation app_display_get_orientation(void)
{
	struct display_capabilities caps;

	display_get_capabilities(display_dev, &caps);
	return caps.current_orientation;
}

static int app_display_write(uint16_t x, uint16_t y, uint16_t width, uint16_t height,
			      const uint8_t *buf, size_t buf_size)
{
	struct display_buffer_descriptor desc = {
		.buf_size = buf_size,
		.width = width,
		.height = height,
		.pitch = width,
	};

	return display_write(display_dev, x, y, &desc, buf);
}

/* Every refresh call below blocks on the BUSY pin until the panel is
 * physically done, so the wall-clock delta here is the real refresh time -
 * useful for weighing refresh strategy against battery life.
 */
static void log_elapsed(const char *label, int64_t start_ms)
{
	printk("display: %s refresh took %lld ms\n", label, k_uptime_get() - start_ms);
}

int app_display_refresh_full(const uint8_t *buf, size_t buf_size)
{
	uint16_t width, height;
	int64_t start_ms = k_uptime_get();
	int ret;

	app_display_get_size(&width, &height);

	/*
	 * blanking_on() switches the active waveform to FULL (even if a
	 * "partial" devicetree profile made fast/partial the default) and
	 * makes the write below only load RAM without triggering a
	 * refresh; blanking_off() then triggers the actual full update.
	 */
	display_blanking_on(display_dev);

	ret = app_display_write(0, 0, width, height, buf, buf_size);
	if (ret) {
		printk("display_write (full) failed: %d\n", ret);
		return ret;
	}

	ret = display_blanking_off(display_dev);
	log_elapsed("full", start_ms);

	return ret;
}

int app_display_refresh_fast(const uint8_t *buf, size_t buf_size)
{
	uint16_t width, height;
	int64_t start_ms = k_uptime_get();
	int ret;

	app_display_get_size(&width, &height);

	/*
	 * With blanking already off, a plain write() picks the "partial"
	 * profile (SSD1680 OTP Mode 2 waveform) automatically and triggers
	 * the refresh immediately - same waveform as
	 * app_display_refresh_partial(), just covering the whole screen.
	 */
	ret = app_display_write(0, 0, width, height, buf, buf_size);
	if (ret) {
		printk("display_write (fast) failed: %d\n", ret);
		return ret;
	}

	log_elapsed("fast", start_ms);

	return ret;
}

int app_display_refresh_partial(uint16_t x, uint16_t y, uint16_t width, uint16_t height,
				 const uint8_t *buf, size_t buf_size)
{
	int64_t start_ms = k_uptime_get();
	int ret = app_display_write(x, y, width, height, buf, buf_size);

	if (ret) {
		printk("display_write (partial) failed: %d\n", ret);
		return ret;
	}

	log_elapsed("partial", start_ms);

	return ret;
}

int app_display_clear(bool black)
{
	uint16_t width, height;

	app_display_get_size(&width, &height);

	/*
	 * The ssd16xx driver writes this buffer straight to the SSD1680's
	 * WRITE_RAM command with no inversion, so despite Zephyr's
	 * PIXEL_FORMAT_MONO10 doc comment (1=black), what actually reaches
	 * the panel is the datasheet's native RAM convention: bit=1 ->
	 * white, bit=0 -> black (SSD1680 datasheet, "Write RAM (Black
	 * White)" 0x24h command description).
	 */
	/* See the buffer-format comment in display.h: vtiled, width bytes
	 * per 8-row band. height is guaranteed a multiple of 8 (checked by
	 * ssd16xx_get_capabilities()), so this is exact, no rounding.
	 */
	size_t buf_size = (size_t)width * (height / 8);
	uint8_t *buf = k_malloc(buf_size);

	if (!buf) {
		return -ENOMEM;
	}

	memset(buf, black ? 0x00 : 0xFF, buf_size);

	int ret = app_display_refresh_full(buf, buf_size);

	k_free(buf);

	return ret;
}
```

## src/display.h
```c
/* SPDX-License-Identifier: Apache-2.0 */

#ifndef APP_DISPLAY_H_
#define APP_DISPLAY_H_

#include <stdbool.h>
#include <stddef.h>
#include <stdint.h>
#include <zephyr/drivers/display.h>

/* Bring up the e-paper panel (SSD1680) and check the device is ready.
 * Returns 0 on success, negative errno on failure.
 */
int app_display_init(void);

/* Panel dimensions in pixels, for sizing the buffers passed to the
 * refresh functions below.
 */
void app_display_get_size(uint16_t *width, uint16_t *height);

/* Current orientation, as configured by the panel's devicetree `rotation`
 * property (see nanopage.dts). Needed by callers doing their own partial
 * refreshes - see the x-position note on app_display_refresh_partial()
 * below.
 */
enum display_orientation app_display_get_orientation(void);

/*
 * Buffer format used by all three refresh functions below (confirmed by
 * reading drivers/display/ssd16xx.c's ssd16xx_get_capabilities(), which
 * reports SCREEN_INFO_MONO_VTILED for this board's orientation - not the
 * plain row-major layout earlier revisions of these comments described,
 * which only looked correct because the original bring-up test only ever
 * wrote uniform black/white fills, where every byte is identical either
 * way): the buffer is organized as (height / 8) vertically-tiled bands,
 * each `width` bytes long - i.e. one byte per pixel *column*, holding 8
 * vertically-stacked pixel rows, MSB-first (bit (7 - row%8) is the
 * topmost pixel of that 8-row band). `height` must be a multiple of 8;
 * buffer size is then exactly `width * (height / 8)` bytes, no rounding.
 * Within a byte, bit=1 -> white, bit=0 -> black (see the comment in
 * display.c on why this is inverted from Zephyr's PIXEL_FORMAT_MONO10
 * doc comment).
 */

/*
 * Full refresh: forces the SSD1680's ghost-free "full" waveform (OTP
 * Mode 1) over the whole screen - a multi-second, visibly flashing
 * update. Use this periodically (e.g. every N page turns) to clear
 * ghosting left behind by fast/partial refreshes.
 *
 * `buf` must be a full-screen buffer per app_display_get_size(), in the
 * format described above.
 *
 * Returns 0 on success, negative errno on failure.
 */
int app_display_refresh_full(const uint8_t *buf, size_t buf_size);

/*
 * Fast refresh: the SSD1680's quicker "partial" waveform (OTP Mode 2),
 * applied to the whole screen - a sub-second to ~1s update with much
 * less flashing than app_display_refresh_full(), at the cost of
 * ghosting building up over repeated use. Buffer sizing/format is the
 * same as app_display_refresh_full(). Falls back to a full refresh if
 * the devicetree "partial" profile isn't configured on this panel node.
 *
 * Returns 0 on success, negative errno on failure.
 */
int app_display_refresh_fast(const uint8_t *buf, size_t buf_size);

/*
 * Partial refresh: the same Mode 2 waveform as app_display_refresh_fast(),
 * limited to one rectangle - for updating just the part of the screen
 * that changed (a page number, a clock), without redrawing everything.
 *
 * `y` and `height` must each be a multiple of 8 (the panel is
 * vertically tiled in 8-row bands); `x`/`width` have no such
 * restriction - every x/width is already byte-exact in this layout,
 * since one byte is one column. The rectangle must fit within the
 * panel. `buf` must hold `width * (height / 8)` bytes in the format
 * described above.
 *
 * Rotation quirk (found via text.c's cursor, not documented anywhere
 * upstream): ssd16xx_set_window() in the driver correctly re-derives the
 * physical *y* position for ROTATED_180 (it bakes an orientation-
 * dependent reflection into the row/page address it sends the
 * controller), but for *x* it only reverses the controller's address-
 * counter scan direction within the same [x, x+width) window - it never
 * moves the window itself to the reflected position. For a full-width
 * write (x=0) this is invisible (the window already spans the whole
 * panel). For any narrower rectangle under ROTATED_180, the caller must
 * mirror x itself - pass `panel_width - x - width` (panel_width from
 * app_display_get_size()) instead of `x` - or the rectangle lands at the
 * wrong physical spot.
 * app_text_flush() in text.c does this; nothing else here does it for
 * you.
 *
 * Returns 0 on success, negative errno on failure.
 */
int app_display_refresh_partial(uint16_t x, uint16_t y, uint16_t width, uint16_t height,
				 const uint8_t *buf, size_t buf_size);

/* Fill the whole screen solid black (or white if false) and push it with
 * a full refresh (see app_display_refresh_full()). Convenience wrapper
 * used for the bring-up test in main.c.
 * Returns 0 on success, negative errno on failure.
 */
int app_display_clear(bool black);

/*
 * Puts the SSD1680 into its lowest-power Deep Sleep state (~0.7uA typ,
 * vs. ~20uA typ just sitting idle after a normal refresh - see the
 * datasheet's Isleep_VCI vs Idsleep_VCI2). Bypasses Zephyr's display API
 * entirely: the in-tree ssd16xx driver never issues this command (its
 * source has no reference to it), so there's no display_*() call that
 * reaches it. This talks to the panel directly over the same MIPI DBI
 * bus/config the driver itself builds from devicetree.
 *
 * The SSD1680 datasheet is explicit that exiting Deep Sleep requires a
 * hardware RES# pulse, and that the driver's own SW_RESET command
 * (0x12) does not affect it. This function does not perform that
 * reset - it's only safe to call right before the whole board loses
 * power (nRF52840 System OFF), because the *next* app_display_init()
 * call, at the next boot, naturally does a fresh hardware reset as
 * part of the driver's normal init - no special-cased wake path is
 * needed or provided. Calling this mid-runtime, expecting the panel to
 * keep working afterwards without a reboot, will leave it unusable:
 * the driver's cached profile/blanking state has no idea the
 * controller lost its configuration, so it won't redo the
 * SW_RESET+LUT-reload a real wake requires.
 *
 * Returns 0 on success, negative errno on failure.
 */
int app_display_deep_sleep(void);

#endif /* APP_DISPLAY_H_ */
```

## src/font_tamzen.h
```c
/* SPDX-License-Identifier: Apache-2.0 */

#ifndef APP_FONT_TAMZEN_H_
#define APP_FONT_TAMZEN_H_

#include <zephyr/display/cfb.h>

/*
 * Tamzen6x12r.bdf (sunaku/tamzen-font, Tamsyn-derived terms), converted
 * straight from its BDF glyph bitmaps - no library, no re-rasterizing.
 * Bottom-padded from its native 12px height to 16px (4 blank rows appended
 * below the glyph, i.e. extra line gap, not a shifted baseline) because
 * CFB_FONT_MONO_VPACKED packs each column into whole 8-row byte tiles, and
 * text.c requires every font height to be a multiple of 8 for its
 * framebuffer band math - see the font-height note in text.c. Covers ASCII
 * 32-126, matching Zephyr's built-in CFB fonts.
 */
extern const struct cfb_font font_tamzen_6x16;

#endif /* APP_FONT_TAMZEN_H_ */
```

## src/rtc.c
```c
/* SPDX-License-Identifier: Apache-2.0 */

#include <stdio.h>
#include <zephyr/kernel.h>
#include <zephyr/device.h>
#include <zephyr/drivers/rtc.h>

#include "rtc.h"

static const struct device *const rtc_dev = DEVICE_DT_GET(DT_ALIAS(rtc0));

static app_rtc_alarm_cb_t alarm_user_cb;

static const char *const weekday_name[7] = {
	"Sun", "Mon", "Tue", "Wed", "Thu", "Fri", "Sat",
};

int app_rtc_init(void)
{
	if (!device_is_ready(rtc_dev)) {
		printk("RTC device not ready\n");
		return -ENODEV;
	}

	/*
	 * PCF85063 powers up with no valid time set - seed it once at boot
	 * to a fixed reference so the ticking is visible during bring-up.
	 * Replace with a real time source once one exists.
	 */
	struct rtc_time set_time = {
		.tm_year = 2026 - 1900,
		.tm_mon = 8, /* 0-indexed: September */
		.tm_mday = 10,
		.tm_hour = 12,
		.tm_min = 0,
		.tm_sec = 0,
		.tm_wday = 4, /* 2026-09-10 is a Thursday */
	};

	int ret = rtc_set_time(rtc_dev, &set_time);

	if (ret) {
		printk("rtc_set_time failed: %d\n", ret);
	}

	return ret;
}

int app_rtc_get_time(struct rtc_time *now)
{
	return rtc_get_time(rtc_dev, now);
}

void app_rtc_log_time(void)
{
	struct rtc_time now;
	int ret = app_rtc_get_time(&now);

	if (ret) {
		printk("rtc_get_time failed: %d\n", ret);
		return;
	}

	printk("rtc: %04d-%02d-%02d %02d:%02d:%02d\n",
	       now.tm_year + 1900, now.tm_mon + 1, now.tm_mday,
	       now.tm_hour, now.tm_min, now.tm_sec);
}

int app_rtc_format_time(char *buf, size_t len)
{
	struct rtc_time now;
	int ret = app_rtc_get_time(&now);

	if (ret) {
		return ret;
	}

	snprintf(buf, len, "%02d:%02d", now.tm_hour, now.tm_min);
	return 0;
}

int app_rtc_format_date(char *buf, size_t len)
{
	struct rtc_time now;
	int ret = app_rtc_get_time(&now);

	if (ret) {
		return ret;
	}

	snprintf(buf, len, "%s, %04d-%02d-%02d", weekday_name[now.tm_wday % 7],
		 now.tm_year + 1900, now.tm_mon + 1, now.tm_mday);
	return 0;
}

/*
 * Bridges the driver's rtc_alarm_callback signature to our simpler
 * app_rtc_alarm_cb_t. Runs on the system workqueue (see callback_work_handler
 * in rtc_pcf85063a.c), not in ISR context, so it's safe to do normal work
 * (logging, waking up a display refresh, ...) from here.
 */
static void alarm_trampoline(const struct device *dev, uint16_t id, void *user_data)
{
	ARG_UNUSED(dev);
	ARG_UNUSED(id);
	ARG_UNUSED(user_data);

	/*
	 * INT1 is open-drain/active-low and the driver watches for a falling
	 * edge. Until the alarm-pending (AF) flag is cleared the pin stays
	 * asserted low, so the next alarm match won't produce a new edge and
	 * the callback would never fire again. rtc_alarm_is_pending() both
	 * reports and clears AF - call it every time to re-arm the line.
	 */
	rtc_alarm_is_pending(rtc_dev, 0);

	if (alarm_user_cb) {
		alarm_user_cb();
	}
}

int app_rtc_set_alarm(const struct rtc_time *time, uint16_t mask, app_rtc_alarm_cb_t cb)
{
	int ret;

	alarm_user_cb = cb;

	ret = rtc_alarm_set_time(rtc_dev, 0, mask, time);
	if (ret) {
		printk("rtc_alarm_set_time failed: %d\n", ret);
		return ret;
	}

	ret = rtc_alarm_set_callback(rtc_dev, 0, alarm_trampoline, NULL);
	if (ret) {
		printk("rtc_alarm_set_callback failed: %d\n", ret);
		return ret;
	}

	return 0;
}

int app_rtc_set_daily_alarm(uint8_t hour, uint8_t min, app_rtc_alarm_cb_t cb)
{
	struct rtc_time alarm_time = {
		.tm_hour = hour,
		.tm_min = min,
	};

	return app_rtc_set_alarm(&alarm_time, RTC_ALARM_TIME_MASK_HOUR | RTC_ALARM_TIME_MASK_MINUTE,
				  cb);
}

int app_rtc_clear_alarm(void)
{
	struct rtc_time none = {0};

	alarm_user_cb = NULL;

	/* mask = 0 disables every alarm field, so it can never match again. */
	return rtc_alarm_set_time(rtc_dev, 0, 0, &none);
}
```

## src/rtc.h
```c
/* SPDX-License-Identifier: Apache-2.0 */

#ifndef APP_RTC_H_
#define APP_RTC_H_

/* Bring up the RTC device and seed it with a fixed reference time.
 * Returns 0 on success, negative errno on failure.
 */
int app_rtc_init(void);

/* Read the current RTC time and print it via printk. */
void app_rtc_log_time(void);

#endif /* APP_RTC_H_ */
```
